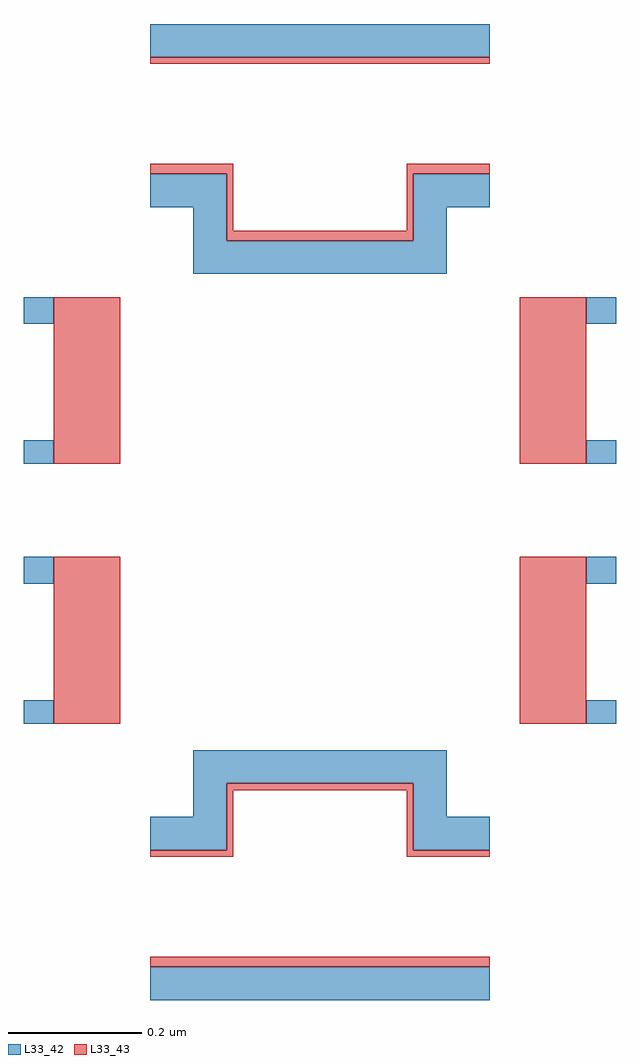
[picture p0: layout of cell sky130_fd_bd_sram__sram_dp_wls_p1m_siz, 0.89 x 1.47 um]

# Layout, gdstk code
from math import pi, radians
import gdstk
lib = gdstk.Library(unit=1e-6, precision=1e-09)
def R(c, l, rs):  # rectangles x0, y0, x1, y1
    for r in rs: c.add(gdstk.rectangle(r[:2], r[2:], *l))
L33_42 = (33, 42)
L33_43 = (33, 43)

sky130_fd_bd_sram__sram_ = lib.new_cell('sky130_fd_bd_sram__sram_dp_wls_poly_sizing_optd')
R(sky130_fd_bd_sram__sram_, L33_42, [(0,-0.065,0.51,-0.015)])
R(sky130_fd_bd_sram__sram_, L33_43, [(0,-0.015,0.51,0)])

c_sky130_fd_bd_sram__sram_ = lib.new_cell('sky130_fd_bd_sram__sram_dp_cell_poly_srf_opta')
R(c_sky130_fd_bd_sram__sram_, L33_43, [(-0.1,-0.2,0,0.05)])

c_sky130_fd_bd_sram__sram__ = lib.new_cell('sky130_fd_bd_sram__sram_dp_wls_p1m_ser')
R(c_sky130_fd_bd_sram__sram__, L33_42, [(-0.02,-0.2,0.025,-0.165), (-0.02,0.01,0.025,0.05)])
c_sky130_fd_bd_sram__sram__.add(gdstk.Reference(c_sky130_fd_bd_sram__sram_, (0.025,0), rotation=pi, x_reflection=True))

c_sky130_fd_bd_sram__sram___ = lib.new_cell('sky130_fd_bd_sram__sram_dp_wls_poly_sizing_optc')
R(c_sky130_fd_bd_sram__sram___, L33_42, [(0,0.01,0.115,0.06), (0.065,0.01,0.115,0.16), (0.395,0.01,0.51,0.06), (0.395,0.01,0.445,0.16), (0.065,0.11,0.445,0.16)])
R(c_sky130_fd_bd_sram__sram___, L33_43, [(0,0,0.125,0.01), (0.115,0,0.125,0.11), (0.385,0,0.51,0.01), (0.385,0,0.395,0.11), (0.115,0.1,0.395,0.11)])

c_sky130_fd_bd_sram__sram____ = lib.new_cell('sky130_fd_bd_sram__sram_dp_wls_poly_sizing_optb')
R(c_sky130_fd_bd_sram__sram____, L33_42, [(0.065,-0.165,0.445,-0.115), (0.065,-0.165,0.115,-0.015), (0.395,-0.165,0.445,-0.015), (0,-0.065,0.115,-0.015), (0.395,-0.065,0.51,-0.015)])
R(c_sky130_fd_bd_sram__sram____, L33_43, [(0.115,-0.115,0.395,-0.1), (0.115,-0.11,0.125,0), (0.385,-0.11,0.395,0), (0,-0.015,0.125,0), (0.385,-0.015,0.51,0)])

c_sky130_fd_bd_sram__sram_____ = lib.new_cell('sky130_fd_bd_sram__sram_dp_wls_poly_sizing_opta')
R(c_sky130_fd_bd_sram__sram_____, L33_42, [(0,0.01,0.51,0.06)])
R(c_sky130_fd_bd_sram__sram_____, L33_43, [(0,0,0.51,0.01)])

c_sky130_fd_bd_sram__sram______ = lib.new_cell('sky130_fd_bd_sram__sram_dp_wls_p1m_siz')
c_sky130_fd_bd_sram__sram______.add(gdstk.Reference(sky130_fd_bd_sram__sram_, (-0.255,0)))
c_sky130_fd_bd_sram__sram______.add(gdstk.Reference(c_sky130_fd_bd_sram__sram__, (-0.425,0.94)))
c_sky130_fd_bd_sram__sram______.add(gdstk.Reference(c_sky130_fd_bd_sram__sram__, (-0.425,0.55)))
c_sky130_fd_bd_sram__sram______.add(gdstk.Reference(c_sky130_fd_bd_sram__sram__, (0.425,0.55), rotation=pi, x_reflection=True))
c_sky130_fd_bd_sram__sram______.add(gdstk.Reference(c_sky130_fd_bd_sram__sram__, (0.425,0.94), rotation=pi, x_reflection=True))
c_sky130_fd_bd_sram__sram______.add(gdstk.Reference(c_sky130_fd_bd_sram__sram___, (-0.255,0.15)))
c_sky130_fd_bd_sram__sram______.add(gdstk.Reference(c_sky130_fd_bd_sram__sram____, (-0.255,1.19)))
c_sky130_fd_bd_sram__sram______.add(gdstk.Reference(c_sky130_fd_bd_sram__sram_____, (-0.255,1.34)))

lib.write_gds('sky130_fd_bd_sram__sram_dp_wls_p1m_siz.gds')
